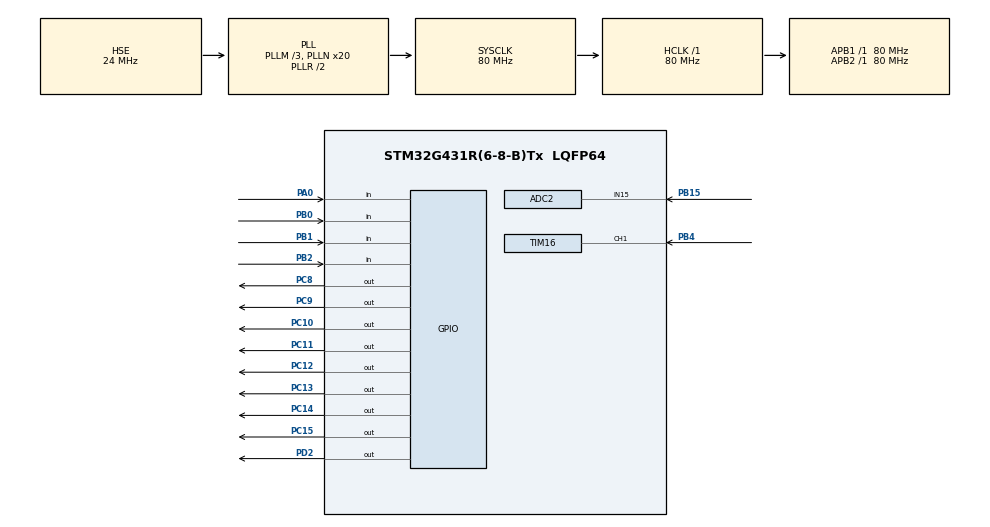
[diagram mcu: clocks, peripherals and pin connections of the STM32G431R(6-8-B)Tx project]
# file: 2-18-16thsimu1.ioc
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ADC2.Channel-0\#ChannelRegularConversion=ADC_CHANNEL_15
ADC2.ClockPrescaler=ADC_CLOCK_ASYNC_DIV128
ADC2.NbrOfConversionFlag=1
ADC2.OffsetNumber-0\#ChannelRegularConversion=ADC_OFFSET_NONE
ADC2.Rank-0\#ChannelRegularConversion=1
ADC2.SamplingTime-0\#ChannelRegularConversion=ADC_SAMPLETIME_2CYCLES_5
Mcu.Family=STM32G4
Mcu.Name=STM32G431R(6-8-B)Tx
Mcu.Package=LQFP64
NVIC.PriorityGroup=NVIC_PRIORITYGROUP_4
NVIC.TIM1_UP_TIM16_IRQn=true\:0\:0\:false\:false\:true\:true\:true\:true
NVIC.TIM7_IRQn=true\:1\:0\:true\:false\:true\:true\:true\:true
PA0.GPIO_Mode=GPIO_MODE_INPUT
PA0.GPIO_PuPd=GPIO_PULLUP
PA0.Signal=GPIO_Input
PA13.Mode=Serial_Wire
PA13.Signal=SYS_JTMS-SWDIO
PA14.Mode=Serial_Wire
PA14.Signal=SYS_JTCK-SWCLK
PB0.GPIO_Mode=GPIO_MODE_INPUT
PB0.GPIO_PuPd=GPIO_PULLUP
PB0.Signal=GPIO_Input
PB1.GPIO_Mode=GPIO_MODE_INPUT
PB1.GPIO_PuPd=GPIO_PULLUP
PB1.Signal=GPIO_Input
PB15.Mode=IN15-Single-Ended
PB15.Signal=ADC2_IN15
PB2.GPIO_Mode=GPIO_MODE_INPUT
PB2.GPIO_PuPd=GPIO_PULLUP
PB2.Signal=GPIO_Input
PB4.Signal=S_TIM16_CH1
PC10.PinState=GPIO_PIN_SET
PC10.Signal=GPIO_Output
PC11.PinState=GPIO_PIN_SET
PC11.Signal=GPIO_Output
PC12.PinState=GPIO_PIN_SET
PC12.Signal=GPIO_Output
PC13.PinState=GPIO_PIN_SET
PC13.Signal=GPIO_Output
PC14-OSC32_IN.PinState=GPIO_PIN_SET
PC14-OSC32_IN.Signal=GPIO_Output
PC15-OSC32_OUT.PinState=GPIO_PIN_SET
PC15-OSC32_OUT.Signal=GPIO_Output
PC8.PinState=GPIO_PIN_SET
PC8.Signal=GPIO_Output
PC9.PinState=GPIO_PIN_SET
PC9.Signal=GPIO_Output
PD2.PinState=GPIO_PIN_SET
PD2.Signal=GPIO_Output
PF0-OSC_IN.Mode=HSE-External-Oscillator
PF0-OSC_IN.Signal=RCC_OSC_IN
PF1-OSC_OUT.Mode=HSE-External-Oscillator
PF1-OSC_OUT.Signal=RCC_OSC_OUT
ProjectManager.HeapSize=0x200
ProjectManager.StackSize=0x400
ProjectManager.TargetToolchain=MDK-ARM V5.32
RCC.ADC12Freq_Value=80000000
RCC.AHBFreq_Value=80000000
RCC.APB1Freq_Value=80000000
RCC.APB1TimFreq_Value=80000000
RCC.APB2Freq_Value=80000000
RCC.APB2TimFreq_Value=80000000
RCC.CortexFreq_Value=80000000
RCC.EXTERNAL_CLOCK_VALUE=12288000
RCC.HCLKFreq_Value=80000000
RCC.HSE_VALUE=24000000
RCC.HSI48_VALUE=48000000
RCC.HSI_VALUE=16000000
RCC.LSE_VALUE=32768
RCC.PLLM=RCC_PLLM_DIV3
RCC.PLLN=20
RCC.PLLSourceVirtual=RCC_PLLSOURCE_HSE
RCC.SYSCLKFreq_VALUE=80000000
RCC.SYSCLKSource=RCC_SYSCLKSOURCE_PLLCLK
RCC.USBFreq_Value=80000000
RCC.VCOOutputFreq_Value=160000000
SH.S_TIM16_CH1.0=TIM16_CH1,Input_Capture1_from_TI1
TIM16.Channel=TIM_CHANNEL_1
TIM16.Prescaler=80-1
TIM7.PeriodNoDither=1000-1
TIM7.Prescaler=80-1
VP_SYS_VS_DBSignals.Mode=DisableDeadBatterySignals
VP_TIM16_VS_ClockSourceINT.Mode=Enable_Timer
VP_TIM7_VS_ClockSourceINT.Mode=Enable_Timer
board=custom

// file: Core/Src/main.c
/* USER CODE BEGIN Header */
/**
  ******************************************************************************
  * @file           : main.c
  * @brief          : Main program body
  ******************************************************************************
  * @attention
  *
  * Copyright (c) 2025 STMicroelectronics.
  * All rights reserved.
  *
  * This software is licensed under terms that can be found in the LICENSE file
  * in the root directory of this software component.
  * If no LICENSE file comes with this software, it is provided AS-IS.
  *
  ******************************************************************************
  */
/* USER CODE END Header */
#include "main.h"
#include "adc.h"
#include "tim.h"
#include "gpio.h"

/* USER CODE BEGIN Includes */
#include "headfile.h"

/* USER CODE END Includes */

void SystemClock_Config(void);

int main(void)
{

  /* MCU Configuration--------------------------------------------------------*/

  /* Reset of all peripherals, Initializes the Flash interface and the Systick. */
  HAL_Init();

  /* Configure the system clock */
  SystemClock_Config();

  /* Initialize all configured peripherals */
  MX_GPIO_Init();
  MX_TIM7_Init();
  MX_ADC2_Init();
  MX_TIM16_Init();
  /* USER CODE BEGIN 2 */
	HAL_GPIO_WritePin(GPIOD, GPIO_PIN_2, GPIO_PIN_RESET);
	led_show(1,0);
	led_show(2,0);
	led_show(3,0);
	led_show(4,0);
	led_show(5,0);
	led_show(6,0);
	led_show(7,0);
	led_show(8,0);

	HAL_TIM_Base_Start_IT(&htim7);

	LCD_Init();
	LCD_Clear(Black);
	LCD_SetTextColor(White);
	LCD_SetBackColor(Black);

	HAL_TIM_IC_Start_IT(&htim16,TIM_CHANNEL_1);
	HAL_ADCEx_Calibration_Start(&hadc2,ADC_SINGLE_ENDED);
  /* USER CODE END 2 */

  /* Infinite loop */
  /* USER CODE BEGIN WHILE */
  while (1)
  {
		while_fun();
    /* USER CODE END WHILE */

  }
}

void SystemClock_Config(void)
{
  RCC_OscInitTypeDef RCC_OscInitStruct = {0};
  RCC_ClkInitTypeDef RCC_ClkInitStruct = {0};

  /** Configure the main internal regulator output voltage
  */
  HAL_PWREx_ControlVoltageScaling(PWR_REGULATOR_VOLTAGE_SCALE1);

  /** Initializes the RCC Oscillators according to the specified parameters
  * in the RCC_OscInitTypeDef structure.
  */
  RCC_OscInitStruct.OscillatorType = RCC_OSCILLATORTYPE_HSE;
  RCC_OscInitStruct.HSEState = RCC_HSE_ON;
  RCC_OscInitStruct.PLL.PLLState = RCC_PLL_ON;
  RCC_OscInitStruct.PLL.PLLSource = RCC_PLLSOURCE_HSE;
  RCC_OscInitStruct.PLL.PLLM = RCC_PLLM_DIV3;
  RCC_OscInitStruct.PLL.PLLN = 20;
  RCC_OscInitStruct.PLL.PLLP = RCC_PLLP_DIV2;
  RCC_OscInitStruct.PLL.PLLQ = RCC_PLLQ_DIV2;
  RCC_OscInitStruct.PLL.PLLR = RCC_PLLR_DIV2;
  if (HAL_RCC_OscConfig(&RCC_OscInitStruct) != HAL_OK)
  {
    Error_Handler();
  }

  /** Initializes the CPU, AHB and APB buses clocks
  */
  RCC_ClkInitStruct.ClockType = RCC_CLOCKTYPE_HCLK|RCC_CLOCKTYPE_SYSCLK
                              |RCC_CLOCKTYPE_PCLK1|RCC_CLOCKTYPE_PCLK2;
  RCC_ClkInitStruct.SYSCLKSource = RCC_SYSCLKSOURCE_PLLCLK;
  RCC_ClkInitStruct.AHBCLKDivider = RCC_SYSCLK_DIV1;
  RCC_ClkInitStruct.APB1CLKDivider = RCC_HCLK_DIV1;
  RCC_ClkInitStruct.APB2CLKDivider = RCC_HCLK_DIV1;

  if (HAL_RCC_ClockConfig(&RCC_ClkInitStruct, FLASH_LATENCY_2) != HAL_OK)
  {
    Error_Handler();
  }
}

void Error_Handler(void)
{
  __disable_irq();
  while (1)
  {
  }
}
